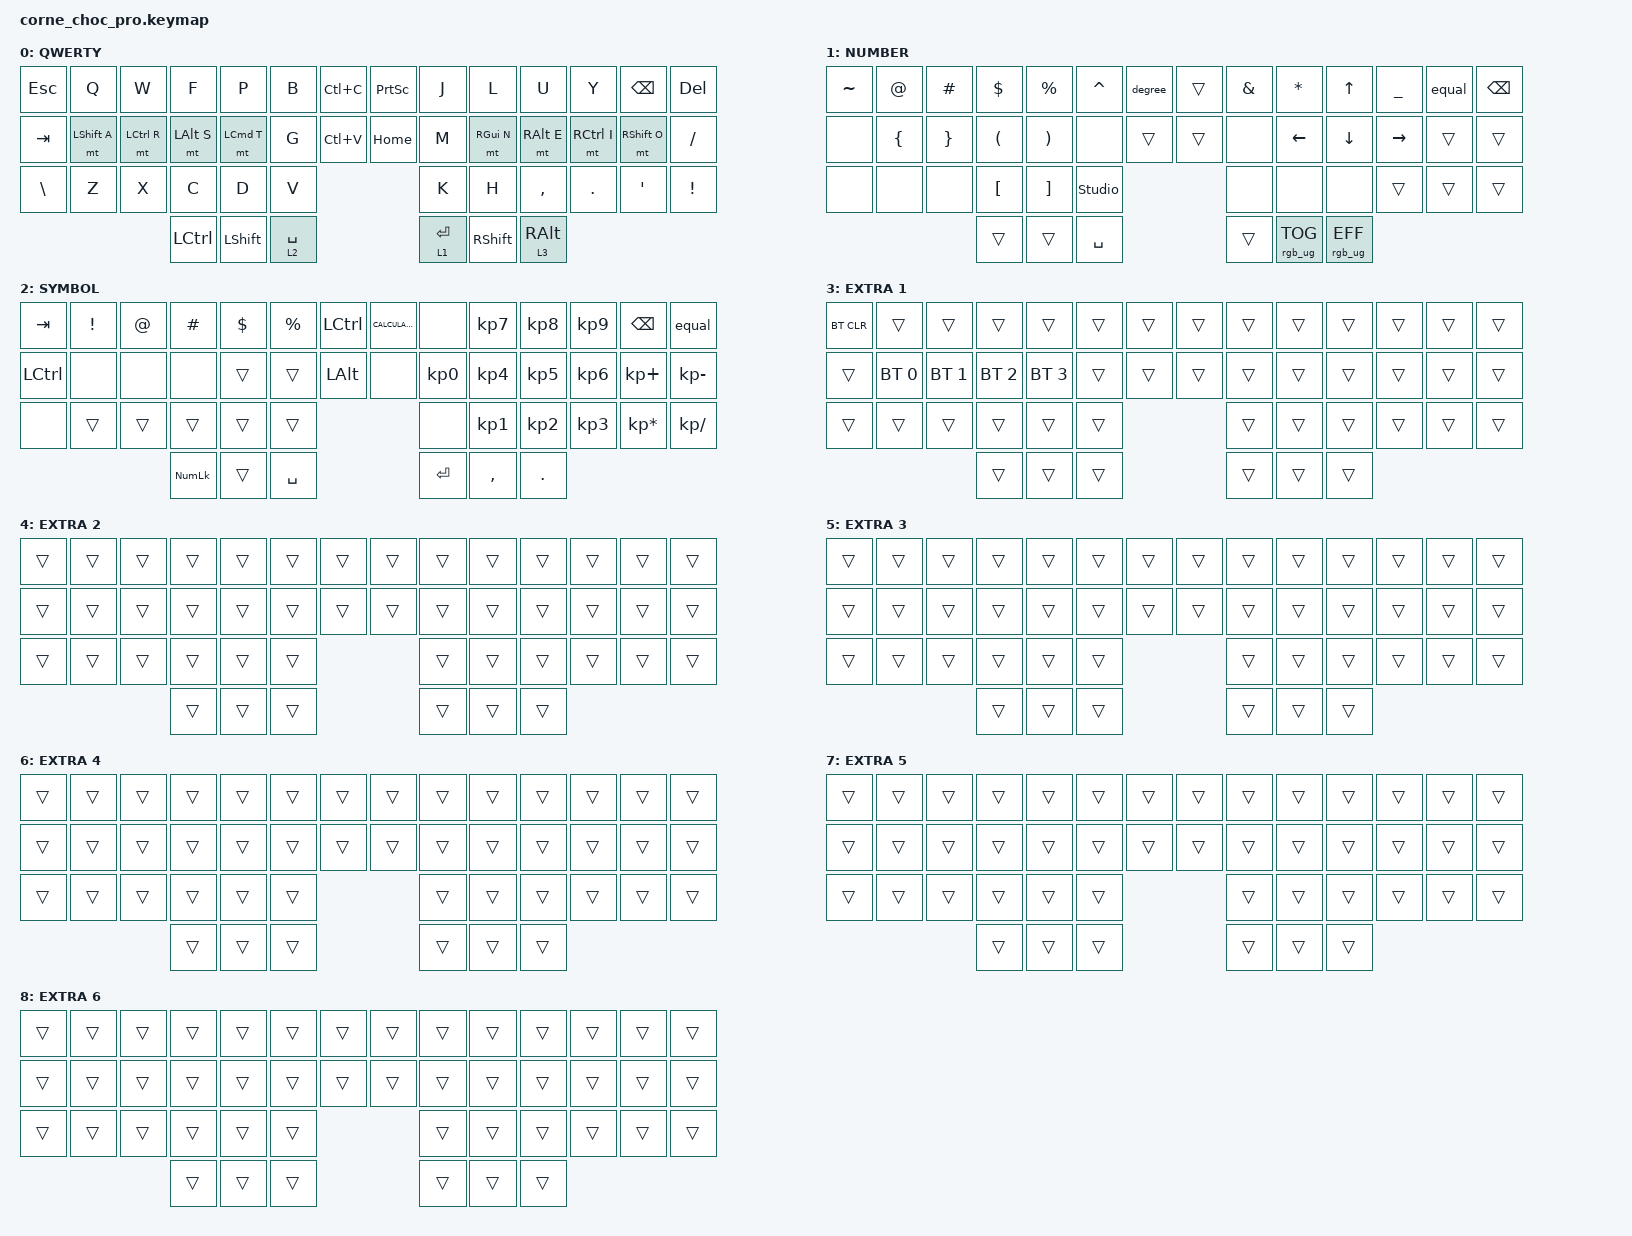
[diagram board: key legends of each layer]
/*
 * Copyright (c) 2020 The ZMK Contributors
 *
 * SPDX-License-Identifier: MIT
 */

#include <behaviors.dtsi>
#include <dt-bindings/zmk/bt.h>
#include <dt-bindings/zmk/keys.h>
#include <dt-bindings/zmk/rgb.h>

/ {
    chosen { zmk,physical-layout = &default_layout; };
};

/ {
    /* These macros and combos are added based on the user's Vial config,
     * using the user-provided working example as a syntax guide.
     * The keymap below this block remains untouched.
     */

    behaviors {
        mt: mod_tap {
            compatible = "zmk,behavior-hold-tap";
            #binding-cells = <2>;
            flavor = "tap-preferred";
            tapping-term-ms = <250>;
            display-name = "Mod-Tap";
        };
    };

    macros {
        macro_a_uml: macro_a_uml {
            compatible = "zmk,behavior-macro";
            label = "MACRO_a_uml";
            #binding-cells = <0>;
            bindings =
                <&macro_press>,
                <&kp LALT>,
                <&macro_tap>,
                <&kp KP_N0 &kp KP_N2 &kp KP_N2 &kp KP_N8>,
                <&macro_release>,
                <&kp LALT>;
        };

        macro_o_uml: macro_o_uml {
            compatible = "zmk,behavior-macro";
            label = "MACRO_o_uml";
            #binding-cells = <0>;
            bindings =
                <&macro_press>,
                <&kp LALT>,
                <&macro_tap>,
                <&kp KP_N0 &kp KP_N2 &kp KP_N4 &kp KP_N6>,
                <&macro_release>,
                <&kp LALT>;
        };

        macro_u_uml: macro_u_uml {
            compatible = "zmk,behavior-macro";
            label = "MACRO_u_uml";
            #binding-cells = <0>;
            bindings =
                <&macro_press>,
                <&kp LALT>,
                <&macro_tap>,
                <&kp KP_N0 &kp KP_N2 &kp KP_N5 &kp KP_N2>,
                <&macro_release>,
                <&kp LALT>;
        };

        macro_U_uml_cap: macro_U_uml_cap {
            compatible = "zmk,behavior-macro";
            label = "MACRO_U_uml_cap";
            #binding-cells = <0>;
            bindings =
                <&macro_press>,
                <&kp LALT>,
                <&macro_tap>,
                <&kp KP_N0 &kp KP_N2 &kp KP_N2 &kp KP_N0>,
                <&macro_release>,
                <&kp LALT>;
        };

        macro_euro: macro_euro {
            compatible = "zmk,behavior-macro";
            label = "MACRO_euro";
            #binding-cells = <0>;
            bindings =
                <&macro_press>,
                <&kp LALT>,
                <&macro_tap>,
                <&kp KP_N0 &kp KP_N1 &kp KP_N2 &kp KP_N8>,
                <&macro_release>,
                <&kp LALT>;
        };

        scharfes_s: scharfes_s {
            compatible = "zmk,behavior-macro";
            label = "SCHARFES_S";
            #binding-cells = <0>;
            bindings =
                <&macro_press>,
                <&kp LALT>,
                <&macro_tap>,
                <&kp KP_N2 &kp KP_N2 &kp KP_N5>,
                <&macro_release>,
                <&kp LALT>;
        };

        degree: degree {
            compatible = "zmk,behavior-macro";
            label = "DEGREE";
            #binding-cells = <0>;
            bindings =
                <&macro_press>,
                <&kp LALT>,
                <&macro_tap>,
                <&kp KP_NUMBER_0 &kp KP_NUMBER_1 &kp KP_NUMBER_7 &kp KP_NUMBER_6>,
                <&macro_release>,
                <&kp LALT>;
        };

        equal: equal {
            compatible = "zmk,behavior-macro";
            label = "EQUAL";
            #binding-cells = <0>;
            bindings =
                <&macro_press>,
                <&kp LALT>,
                <&macro_tap>,
                <&kp KP_NUMBER_6 &kp KP_NUMBER_1>,
                <&macro_release>,
                <&kp LALT>;
        };
    };

    combos {
        compatible = "zmk,combos";

        combo_semicolon {
            timeout-ms = <50>;
            key-positions = <36 37>; /* DOT, COMMA */
            bindings = <&kp SEMI>;
        };

        combo_euro {
            timeout-ms = <50>;
            key-positions = <3 2>; /* F, P */
            bindings = <&macro_euro>;
        };

        combo_a_uml {
            timeout-ms = <50>;
            key-positions = <15 24>; /* A, E */
            bindings = <&macro_a_uml>;
        };

        combo_o_uml {
            timeout-ms = <50>;
            key-positions = <24 26>; /* U, E */
            bindings = <&macro_o_uml>;
        };

        combo_u_uml {
            timeout-ms = <50>;
            key-positions = <10 24>; /* S, E */
            bindings = <&macro_u_uml>;
        };

        combo_U_uml_cap {
            timeout-ms = <50>;
            key-positions = <24 10 23>; /* E, O */
            bindings = <&macro_U_uml_cap>;
        };

        combo_ss {
            bindings = <&scharfes_s>;
            key-positions = <17 24>;
        };
    };
};

/ {
    keymap {
        compatible = "zmk,keymap";

        default_layer {
            display-name = "QWERTY";
            bindings = <
&kp ESC        &kp Q             &kp W        &kp F           &kp P           &kp B        &kp LC(C)  &kp PRINTSCREEN  &kp J        &kp L            &kp U            &kp Y        &kp BSPC           &kp DEL
&kp TAB        &mt LEFT_SHIFT A  &mt LCTRL R  &mt LEFT_ALT S  &mt LCMD T      &kp G        &kp LC(V)  &kp HOME         &kp M        &mt RIGHT_GUI N  &mt RIGHT_ALT E  &mt RCTRL I  &mt RIGHT_SHIFT O  &kp SLASH
&kp BACKSLASH  &kp Z             &kp X        &kp C           &kp D           &kp V                                    &kp K        &kp H            &kp COMMA        &kp DOT      &kp SQT            &kp EXCLAMATION
                                              &kp LCTRL       &kp LEFT_SHIFT  &lt 2 SPACE                              &lt 1 ENTER  &kp RIGHT_SHIFT  &lt 3 RIGHT_ALT
            >;
        };

        lower_layer {
            display-name = "NUMBER";
            bindings = <
&kp TILDE  &kp AT          &kp HASH         &kp DOLLAR            &kp PERCENT            &kp CARET       &degree  &trans  &kp AMPERSAND  &kp ASTRK        &kp UP_ARROW     &kp UNDERSCORE  &equal  &kp BSPC
&none      &kp LEFT_BRACE  &kp RIGHT_BRACE  &kp LEFT_PARENTHESIS  &kp RIGHT_PARENTHESIS  &none           &trans   &trans  &none          &kp LEFT         &kp DOWN_ARROW   &kp RIGHT       &trans  &trans
&none      &none           &none            &kp LEFT_BRACKET      &kp RIGHT_BRACKET      &studio_unlock                   &none          &none            &none            &trans          &trans  &trans
                                            &trans                &trans                 &kp SPACE                        &trans         &rgb_ug RGB_TOG  &rgb_ug RGB_EFF
            >;
        };

        raise_layer {
            display-name = "SYMBOL";
            bindings = <
&kp TAB    &kp EXCL  &kp AT  &kp HASH    &kp DLLR  &kp PRCNT  &kp LCTRL  &kp K_CALCULATOR  &none      &kp KP_NUMBER_7  &kp KP_NUMBER_8  &kp KP_NUMBER_9  &kp BACKSPACE    &equal
&kp LCTRL  &none     &none   &none       &trans    &trans     &kp LALT   &none             &kp KP_N0  &kp KP_NUMBER_4  &kp KP_NUMBER_5  &kp KP_NUMBER_6  &kp KP_PLUS      &kp KP_SUBTRACT
&none      &trans    &trans  &trans      &trans    &trans                                  &none      &kp KP_NUMBER_1  &kp KP_NUMBER_2  &kp KP_NUMBER_3  &kp KP_ASTERISK  &kp KP_DIVIDE
                             &kp KP_NUM  &trans    &kp SPACE                               &kp RET    &kp COMMA        &kp PERIOD
            >;
        };

        extra_layer_1 {
            display-name = "EXTRA 1";
            bindings = <
&bt BT_CLR  &trans        &trans        &trans        &trans        &trans  &trans  &trans  &trans  &trans  &trans  &trans  &trans  &trans
&trans      &bt BT_SEL 0  &bt BT_SEL 1  &bt BT_SEL 2  &bt BT_SEL 3  &trans  &trans  &trans  &trans  &trans  &trans  &trans  &trans  &trans
&trans      &trans        &trans        &trans        &trans        &trans                  &trans  &trans  &trans  &trans  &trans  &trans
                                        &trans        &trans        &trans                  &trans  &trans  &trans
            >;
        };

        extra_layer_2 {
            display-name = "EXTRA 2";
            bindings = <
&trans  &trans  &trans  &trans  &trans  &trans  &trans  &trans  &trans  &trans  &trans  &trans  &trans  &trans
&trans  &trans  &trans  &trans  &trans  &trans  &trans  &trans  &trans  &trans  &trans  &trans  &trans  &trans
&trans  &trans  &trans  &trans  &trans  &trans                  &trans  &trans  &trans  &trans  &trans  &trans
                        &trans  &trans  &trans                  &trans  &trans  &trans
            >;
        };

        extra_layer_3 {
            display-name = "EXTRA 3";
            bindings = <
&trans  &trans  &trans  &trans  &trans  &trans  &trans  &trans  &trans  &trans  &trans  &trans  &trans  &trans
&trans  &trans  &trans  &trans  &trans  &trans  &trans  &trans  &trans  &trans  &trans  &trans  &trans  &trans
&trans  &trans  &trans  &trans  &trans  &trans                  &trans  &trans  &trans  &trans  &trans  &trans
                        &trans  &trans  &trans                  &trans  &trans  &trans
            >;
        };

        extra_layer_4 {
            display-name = "EXTRA 4";
            bindings = <
&trans  &trans  &trans  &trans  &trans  &trans  &trans  &trans  &trans  &trans  &trans  &trans  &trans  &trans
&trans  &trans  &trans  &trans  &trans  &trans  &trans  &trans  &trans  &trans  &trans  &trans  &trans  &trans
&trans  &trans  &trans  &trans  &trans  &trans                  &trans  &trans  &trans  &trans  &trans  &trans
                        &trans  &trans  &trans                  &trans  &trans  &trans
            >;
        };

        extra_layer_5 {
            display-name = "EXTRA 5";
            bindings = <
&trans  &trans  &trans  &trans  &trans  &trans  &trans  &trans  &trans  &trans  &trans  &trans  &trans  &trans
&trans  &trans  &trans  &trans  &trans  &trans  &trans  &trans  &trans  &trans  &trans  &trans  &trans  &trans
&trans  &trans  &trans  &trans  &trans  &trans                  &trans  &trans  &trans  &trans  &trans  &trans
                        &trans  &trans  &trans                  &trans  &trans  &trans
            >;
        };

        extra_layer_6 {
            display-name = "EXTRA 6";
            bindings = <
&trans  &trans  &trans  &trans  &trans  &trans  &trans  &trans  &trans  &trans  &trans  &trans  &trans  &trans
&trans  &trans  &trans  &trans  &trans  &trans  &trans  &trans  &trans  &trans  &trans  &trans  &trans  &trans
&trans  &trans  &trans  &trans  &trans  &trans                  &trans  &trans  &trans  &trans  &trans  &trans
                        &trans  &trans  &trans                  &trans  &trans  &trans
            >;
        };
    };
};
